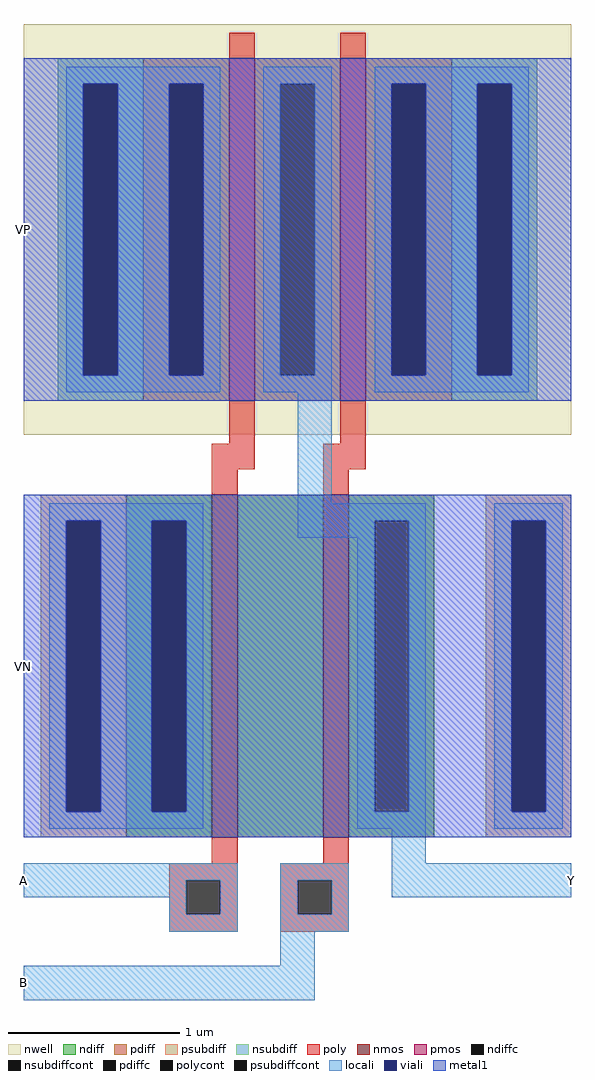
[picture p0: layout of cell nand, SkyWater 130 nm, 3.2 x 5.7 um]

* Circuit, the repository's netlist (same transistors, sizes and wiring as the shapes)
* SPICE3 file created from nand.ext - technology: sky130A

X0 Y B a_10_0# VN sky130_fd_pr__nfet_01v8 ad=1 pd=5 as=0.5 ps=2.5 w=2 l=0.15
X1 Y A VP VP sky130_fd_pr__pfet_01v8 ad=0.5 pd=2.5 as=1 ps=5 w=2 l=0.15
X2 a_10_0# A VN VN sky130_fd_pr__nfet_01v8 ad=0.5 pd=2.5 as=1 ps=5 w=2 l=0.15
X3 VP B Y VP sky130_fd_pr__pfet_01v8 ad=1 pd=5 as=0.5 ps=2.5 w=2 l=0.15
.end

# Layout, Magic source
magic
tech sky130A
<< nwell >>
rect -120 235 200 475
<< nmos >>
rect -10 0 5 200
rect 55 0 70 200
<< pmos >>
rect 0 255 15 455
rect 65 255 80 455
<< ndiff >>
rect -60 185 -10 200
rect -60 15 -45 185
rect -25 15 -10 185
rect -60 0 -10 15
rect 5 0 55 200
rect 70 185 120 200
rect 70 15 85 185
rect 105 15 120 185
rect 70 0 120 15
<< pdiff >>
rect -50 440 0 455
rect -50 270 -35 440
rect -15 270 0 440
rect -50 255 0 270
rect 15 440 65 455
rect 15 270 30 440
rect 50 270 65 440
rect 15 255 65 270
rect 80 440 130 455
rect 80 270 95 440
rect 115 270 130 440
rect 80 255 130 270
<< ndiffc >>
rect -45 15 -25 185
rect 85 15 105 185
<< pdiffc >>
rect -35 270 -15 440
rect 30 270 50 440
rect 95 270 115 440
<< psubdiff >>
rect -110 185 -60 200
rect -110 15 -95 185
rect -75 15 -60 185
rect -110 0 -60 15
rect 150 185 200 200
rect 150 15 165 185
rect 185 15 200 185
rect 150 0 200 15
<< nsubdiff >>
rect -100 440 -50 455
rect -100 270 -85 440
rect -65 270 -50 440
rect -100 255 -50 270
rect 130 440 180 455
rect 130 270 145 440
rect 165 270 180 440
rect 130 255 180 270
<< psubdiffcont >>
rect -95 15 -75 185
rect 165 15 185 185
<< nsubdiffcont >>
rect -85 270 -65 440
rect 145 270 165 440
<< poly >>
rect 0 455 15 470
rect 65 455 80 470
rect 0 230 15 255
rect 65 230 80 255
rect -10 215 15 230
rect 55 215 80 230
rect -10 200 5 215
rect 55 200 70 215
rect -10 -15 5 0
rect 55 -15 70 0
rect -35 -25 5 -15
rect -35 -45 -25 -25
rect -5 -45 5 -25
rect -35 -55 5 -45
rect 30 -25 70 -15
rect 30 -45 40 -25
rect 60 -45 70 -25
rect 30 -55 70 -45
<< polycont >>
rect -25 -45 -5 -25
rect 40 -45 60 -25
<< locali >>
rect -95 440 -5 450
rect -95 270 -85 440
rect -65 270 -35 440
rect -15 270 -5 440
rect -95 260 -5 270
rect 20 440 60 450
rect 20 270 30 440
rect 50 270 60 440
rect 20 260 60 270
rect 85 440 175 450
rect 85 270 95 440
rect 115 270 145 440
rect 165 270 175 440
rect 85 260 175 270
rect 40 195 60 260
rect -105 185 -15 195
rect -105 15 -95 185
rect -75 15 -45 185
rect -25 15 -15 185
rect 40 185 115 195
rect 40 175 85 185
rect -105 5 -15 15
rect 75 15 85 175
rect 105 15 115 185
rect 75 5 115 15
rect 155 185 195 195
rect 155 15 165 185
rect 185 15 195 185
rect 155 5 195 15
rect 95 -15 115 5
rect -120 -25 5 -15
rect -120 -35 -25 -25
rect -35 -45 -25 -35
rect -5 -45 5 -25
rect -35 -55 5 -45
rect 30 -25 70 -15
rect 30 -45 40 -25
rect 60 -45 70 -25
rect 95 -35 200 -15
rect 30 -55 70 -45
rect 30 -75 50 -55
rect -120 -95 50 -75
<< viali >>
rect -85 270 -65 440
rect -35 270 -15 440
rect 95 270 115 440
rect 145 270 165 440
rect -95 15 -75 185
rect -45 15 -25 185
rect 165 15 185 185
<< metal1 >>
rect -120 440 200 455
rect -120 270 -85 440
rect -65 270 -35 440
rect -15 270 95 440
rect 115 270 145 440
rect 165 270 200 440
rect -120 255 200 270
rect -120 185 200 200
rect -120 15 -95 185
rect -75 15 -45 185
rect -25 15 165 185
rect 185 15 200 185
rect -120 0 200 15
<< labels >>
rlabel locali -120 -25 -120 -25 7 A
port 1 w
rlabel locali -120 -85 -120 -85 7 B
port 2 w
rlabel locali 200 -25 200 -25 3 Y
port 3 e
rlabel metal1 -120 355 -120 355 7 VP
port 4 w
rlabel metal1 -120 100 -120 100 7 VN
port 5 w
<< end >>
